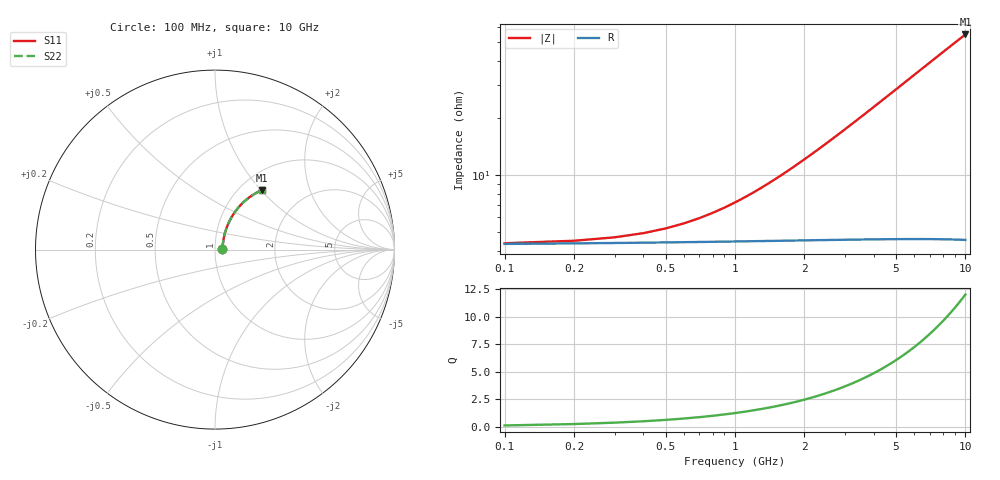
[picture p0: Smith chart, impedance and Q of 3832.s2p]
# Hz S RI R 50.00
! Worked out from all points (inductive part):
!   100 points, 100 MHz to 10 GHz, reference 50 ohm
!   read as one part in series: L = 892 pH near 2.5 GHz
!   highest Q = 12 at 10 GHz (marker M1), where L = 874 pH
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1e8  0.0417 0.00448  0.9583 -0.00585  0.9583 -0.00585  0.0417 0.00448
2e8  0.042 0.00895  0.958 -0.0117  0.958 -0.0117  0.042 0.00895
3e8  0.0424 0.0134  0.9576 -0.0175  0.9576 -0.0175  0.0424 0.0134
5e8  0.0431 0.0223  0.9569 -0.0292  0.9569 -0.0292  0.0431 0.0223
7e8  0.044 0.0312  0.956 -0.0408  0.956 -0.0408  0.044 0.0312
1.3e9  0.0477 0.0577  0.9521 -0.0755  0.9521 -0.0755  0.0477 0.0577
1.5e9  0.0493 0.0664  0.9504 -0.087  0.9504 -0.087  0.0493 0.0664
1.8e9  0.0521 0.0794  0.9475 -0.1041  0.9475 -0.1041  0.0521 0.0794
2.1e9  0.0554 0.0923  0.9441 -0.1211  0.9441 -0.1211  0.0554 0.0923
2.5e9  0.0605 0.1092  0.9389 -0.1435  0.9389 -0.1435  0.0605 0.1092
2.9e9  0.0663 0.1258  0.9329 -0.1655  0.9329 -0.1655  0.0663 0.1258
3.4e9  0.0746 0.1459  0.9243 -0.1926  0.9243 -0.1926  0.0746 0.1459
3.8e9  0.082 0.1616  0.9165 -0.2137  0.9165 -0.2137  0.082 0.1616
4.2e9  0.0902 0.1768  0.9081 -0.2344  0.9081 -0.2344  0.0902 0.1768
4.6e9  0.0989 0.1915  0.899 -0.2546  0.899 -0.2546  0.0989 0.1915
5.1e9  0.1107 0.2091  0.8867 -0.2792  0.8867 -0.2792  0.1107 0.2091
5.9e9  0.1314 0.2354  0.8652 -0.3166  0.8652 -0.3166  0.1314 0.2354
6.7e9  0.1539 0.2593  0.8417 -0.3516  0.8417 -0.3516  0.1539 0.2593
7.5e9  0.178 0.2807  0.8165 -0.3841  0.8165 -0.3841  0.178 0.2807
8.4e9  0.2065 0.3016  0.7866 -0.4176  0.7866 -0.4176  0.2065 0.3016
9.2e9  0.2328 0.3174  0.7589 -0.4447  0.7589 -0.4447  0.2328 0.3174
1e10  0.2596 0.3307  0.7305 -0.4692  0.7305 -0.4692  0.2596 0.3307
